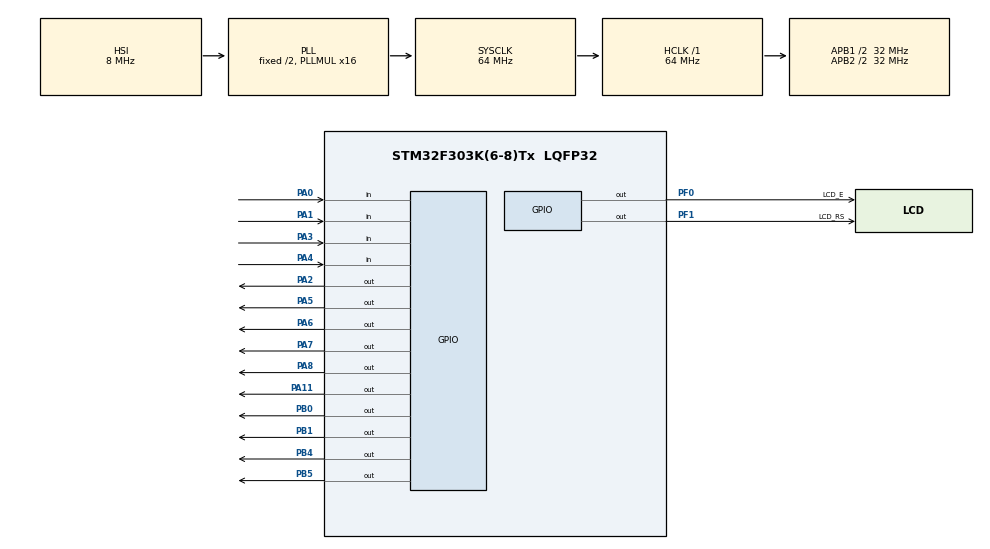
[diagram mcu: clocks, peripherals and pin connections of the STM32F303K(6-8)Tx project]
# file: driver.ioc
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Mcu.Family=STM32F3
Mcu.Name=STM32F303K(6-8)Tx
Mcu.Package=LQFP32
NVIC.PriorityGroup=NVIC_PRIORITYGROUP_4
PA0.GPIO_PuPd=GPIO_PULLUP
PA0.Signal=GPIO_Input
PA1.GPIO_PuPd=GPIO_PULLUP
PA1.Signal=GPIO_Input
PA11.Signal=GPIO_Output
PA13.GPIO_Label=SWDIO
PA13.Mode=Serial_Wire
PA13.Signal=SYS_JTMS-SWDIO
PA14.GPIO_Label=SWCLK
PA14.Mode=Serial_Wire
PA14.Signal=SYS_JTCK-SWCLK
PA15.GPIO_Label=VCP_RX
PA15.Signal=USART2_RX
PA2.Signal=GPIO_Output
PA3.GPIO_PuPd=GPIO_PULLUP
PA3.Signal=GPIO_Input
PA4.GPIO_PuPd=GPIO_PULLUP
PA4.Signal=GPIO_Input
PA5.Signal=GPIO_Output
PA6.Signal=GPIO_Output
PA7.Signal=GPIO_Output
PA8.Signal=GPIO_Output
PB0.Signal=GPIO_Output
PB1.Signal=GPIO_Output
PB4.Signal=GPIO_Output
PB5.Signal=GPIO_Output
PF0\ /\ OSC_IN.GPIO_Label=LCD_E
PF0\ /\ OSC_IN.Signal=GPIO_Output
PF1\ /\ OSC_OUT.GPIO_Label=LCD_RS
PF1\ /\ OSC_OUT.Signal=GPIO_Output
ProjectManager.HeapSize=0x200
ProjectManager.StackSize=0x400
ProjectManager.TargetToolchain=Makefile
RCC.AHBFreq_Value=64000000
RCC.APB1CLKDivider=RCC_HCLK_DIV2
RCC.APB1Freq_Value=32000000
RCC.APB1TimFreq_Value=64000000
RCC.APB2CLKDivider=RCC_HCLK_DIV2
RCC.APB2Freq_Value=32000000
RCC.APB2TimFreq_Value=64000000
RCC.CortexFreq_Value=64000000
RCC.HCLKFreq_Value=64000000
RCC.HSE_VALUE=8000000
RCC.HSI_VALUE=8000000
RCC.PLLMUL=RCC_PLL_MUL16
RCC.SYSCLKFreq_VALUE=64000000
RCC.SYSCLKSourceVirtual=RCC_SYSCLKSOURCE_PLLCLK
TIM2.Prescaler=64
VP_TIM2_VS_ClockSourceINT.Mode=Internal
board=NUCLEO-F303K8

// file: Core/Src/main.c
/* USER CODE BEGIN Header */
/**
  ******************************************************************************
  * @file           : main.c
  * @brief          : Main program body
  ******************************************************************************
  * @attention
  *
  * Copyright (c) 2024 STMicroelectronics.
  * All rights reserved.
  *
  * This software is licensed under terms that can be found in the LICENSE file
  * in the root directory of this software component.
  * If no LICENSE file comes with this software, it is provided AS-IS.
  *
  ******************************************************************************
  * Uses 16x2 LCD driver from https://controllerstech.com/interface-lcd-16x2-with-stm32-without-i2c/
  */
/* USER CODE END Header */
#include "main.h"

/* USER CODE BEGIN Includes */
#include "LCD1602.h"
#include "Driver.h"
/* USER CODE END Includes */

TIM_HandleTypeDef htim2;

void SystemClock_Config(void);
static void MX_GPIO_Init(void);
static void MX_TIM2_Init(void);
/* USER CODE BEGIN PFP */
char get_matrix_btn(void);
void change_valid_LED(uint8_t state);
/* USER CODE END PFP */

int main(void)
{

  /* MCU Configuration--------------------------------------------------------*/

  /* Reset of all peripherals, Initializes the Flash interface and the Systick. */
  HAL_Init();

  /* Configure the system clock */
  SystemClock_Config();

  /* Initialize all configured peripherals */
  MX_GPIO_Init();
  MX_TIM2_Init();
  /* USER CODE BEGIN 2 */
  lcd_init();
  lcd_clear();
  struct Driver driver;
  driver_init (&driver);
  driver.login_process(&driver);
  driver.enter_line_process(&driver);
  change_valid_LED(VALID_UNLOCK);
  driver.display_stop(&driver);
  /* USER CODE END 2 */

  /* Infinite loop */
  while (1)
  {

    /* USER CODE BEGIN 3 */

    unsigned char res = get_matrix_btn();
    if (res != 'X')
    {
      if (res == 'L')
      {
        change_valid_LED(driver.toggle_valid_lock(&driver));
      } else if (res == 'E')
      {
        driver.next_stop();
      }
      res = 'X';
      driver.display_stop(&driver);
    }
    HAL_Delay(10);
  }
  /* USER CODE END 3 */
}

void SystemClock_Config(void)
{
  RCC_OscInitTypeDef RCC_OscInitStruct = {0};
  RCC_ClkInitTypeDef RCC_ClkInitStruct = {0};

  /** Initializes the RCC Oscillators according to the specified parameters
  * in the RCC_OscInitTypeDef structure.
  */
  RCC_OscInitStruct.OscillatorType = RCC_OSCILLATORTYPE_HSI;
  RCC_OscInitStruct.HSIState = RCC_HSI_ON;
  RCC_OscInitStruct.HSICalibrationValue = RCC_HSICALIBRATION_DEFAULT;
  RCC_OscInitStruct.PLL.PLLState = RCC_PLL_ON;
  RCC_OscInitStruct.PLL.PLLSource = RCC_PLLSOURCE_HSI;
  RCC_OscInitStruct.PLL.PLLMUL = RCC_PLL_MUL16;
  if (HAL_RCC_OscConfig(&RCC_OscInitStruct) != HAL_OK)
  {
    Error_Handler();
  }

  /** Initializes the CPU, AHB and APB buses clocks
  */
  RCC_ClkInitStruct.ClockType = RCC_CLOCKTYPE_HCLK|RCC_CLOCKTYPE_SYSCLK
                              |RCC_CLOCKTYPE_PCLK1|RCC_CLOCKTYPE_PCLK2;
  RCC_ClkInitStruct.SYSCLKSource = RCC_SYSCLKSOURCE_PLLCLK;
  RCC_ClkInitStruct.AHBCLKDivider = RCC_SYSCLK_DIV1;
  RCC_ClkInitStruct.APB1CLKDivider = RCC_HCLK_DIV2;
  RCC_ClkInitStruct.APB2CLKDivider = RCC_HCLK_DIV2;

  if (HAL_RCC_ClockConfig(&RCC_ClkInitStruct, FLASH_LATENCY_2) != HAL_OK)
  {
    Error_Handler();
  }
}

static void MX_TIM2_Init(void)
{

  TIM_ClockConfigTypeDef sClockSourceConfig = {0};
  TIM_MasterConfigTypeDef sMasterConfig = {0};

  htim2.Instance = TIM2;
  htim2.Init.Prescaler = 64;
  htim2.Init.CounterMode = TIM_COUNTERMODE_UP;
  htim2.Init.Period = 4294967295;
  htim2.Init.ClockDivision = TIM_CLOCKDIVISION_DIV1;
  htim2.Init.AutoReloadPreload = TIM_AUTORELOAD_PRELOAD_DISABLE;
  if (HAL_TIM_Base_Init(&htim2) != HAL_OK)
  {
    Error_Handler();
  }
  sClockSourceConfig.ClockSource = TIM_CLOCKSOURCE_INTERNAL;
  if (HAL_TIM_ConfigClockSource(&htim2, &sClockSourceConfig) != HAL_OK)
  {
    Error_Handler();
  }
  sMasterConfig.MasterOutputTrigger = TIM_TRGO_RESET;
  sMasterConfig.MasterSlaveMode = TIM_MASTERSLAVEMODE_DISABLE;
  if (HAL_TIMEx_MasterConfigSynchronization(&htim2, &sMasterConfig) != HAL_OK)
  {
    Error_Handler();
  }

}

static void MX_GPIO_Init(void)
{
  GPIO_InitTypeDef GPIO_InitStruct = {0};

  /* GPIO Ports Clock Enable */
  __HAL_RCC_GPIOF_CLK_ENABLE();
  __HAL_RCC_GPIOA_CLK_ENABLE();
  __HAL_RCC_GPIOB_CLK_ENABLE();

  /*Configure GPIO pin Output Level */
  HAL_GPIO_WritePin(GPIOF, LCD_E_Pin|LCD_RS_Pin, GPIO_PIN_RESET);

  /*Configure GPIO pin Output Level */
  HAL_GPIO_WritePin(GPIOA, GPIO_PIN_2|GPIO_PIN_5|GPIO_PIN_6|GPIO_PIN_7
                          |GPIO_PIN_8|GPIO_PIN_11, GPIO_PIN_RESET);

  /*Configure GPIO pin Output Level */
  HAL_GPIO_WritePin(GPIOB, GPIO_PIN_0|GPIO_PIN_1|GPIO_PIN_4|GPIO_PIN_5, GPIO_PIN_RESET);

  /*Configure GPIO pins : LCD_E_Pin LCD_RS_Pin */
  GPIO_InitStruct.Pin = LCD_E_Pin|LCD_RS_Pin;
  GPIO_InitStruct.Mode = GPIO_MODE_OUTPUT_PP;
  GPIO_InitStruct.Pull = GPIO_NOPULL;
  GPIO_InitStruct.Speed = GPIO_SPEED_FREQ_LOW;
  HAL_GPIO_Init(GPIOF, &GPIO_InitStruct);

  /*Configure GPIO pins : PA0 PA1 PA3 PA4 */
  GPIO_InitStruct.Pin = GPIO_PIN_0|GPIO_PIN_1|GPIO_PIN_3|GPIO_PIN_4;
  GPIO_InitStruct.Mode = GPIO_MODE_INPUT;
  GPIO_InitStruct.Pull = GPIO_PULLUP;
  HAL_GPIO_Init(GPIOA, &GPIO_InitStruct);

  /*Configure GPIO pins : PA2 PA5 PA6 PA7
                           PA8 PA11 */
  GPIO_InitStruct.Pin = GPIO_PIN_2|GPIO_PIN_5|GPIO_PIN_6|GPIO_PIN_7
                          |GPIO_PIN_8|GPIO_PIN_11;
  GPIO_InitStruct.Mode = GPIO_MODE_OUTPUT_PP;
  GPIO_InitStruct.Pull = GPIO_NOPULL;
  GPIO_InitStruct.Speed = GPIO_SPEED_FREQ_LOW;
  HAL_GPIO_Init(GPIOA, &GPIO_InitStruct);

  /*Configure GPIO pins : PB0 PB1 PB4 PB5 */
  GPIO_InitStruct.Pin = GPIO_PIN_0|GPIO_PIN_1|GPIO_PIN_4|GPIO_PIN_5;
  GPIO_InitStruct.Mode = GPIO_MODE_OUTPUT_PP;
  GPIO_InitStruct.Pull = GPIO_NOPULL;
  GPIO_InitStruct.Speed = GPIO_SPEED_FREQ_LOW;
  HAL_GPIO_Init(GPIOB, &GPIO_InitStruct);

  /*Configure GPIO pin : VCP_RX_Pin */
  GPIO_InitStruct.Pin = VCP_RX_Pin;
  GPIO_InitStruct.Mode = GPIO_MODE_AF_PP;
  GPIO_InitStruct.Pull = GPIO_NOPULL;
  GPIO_InitStruct.Speed = GPIO_SPEED_FREQ_HIGH;
  GPIO_InitStruct.Alternate = GPIO_AF7_USART2;
  HAL_GPIO_Init(VCP_RX_GPIO_Port, &GPIO_InitStruct);

}

/* USER CODE BEGIN 4 */
void change_valid_LED(uint8_t state)
{
  HAL_GPIO_WritePin(GPIOB, GPIO_PIN_0, !state);
  HAL_GPIO_WritePin(GPIOB, GPIO_PIN_1, state);
}
/* USER CODE END 4 */

void Error_Handler(void)
{
  __disable_irq();
  while (1)
  {
  }
}
